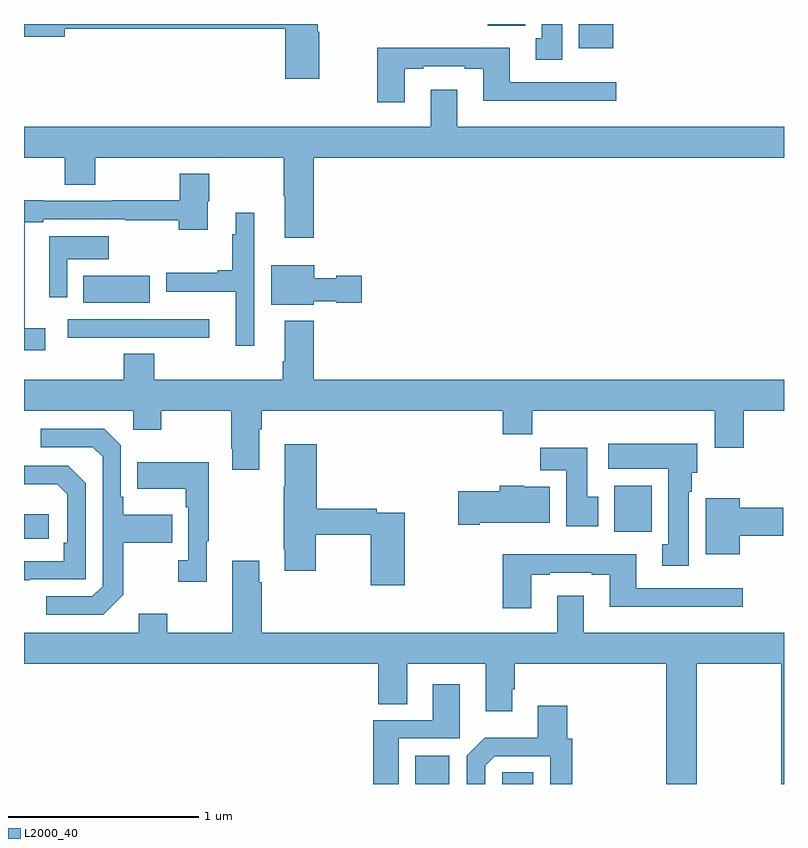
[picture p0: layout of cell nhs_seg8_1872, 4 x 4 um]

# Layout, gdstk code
import gdstk
lib = gdstk.Library(unit=1e-6, precision=1e-09)
def R(c, l, rs):  # rectangles x0, y0, x1, y1
    for r in rs: c.add(gdstk.rectangle(r[:2], r[2:], *l))
def P(c, l, *ps):  # polygons
    for p in ps: c.add(gdstk.Polygon(p, *l))
L2000_40 = (2000, 40)

nhs_seg8_1872 = lib.new_cell('nhs_seg8_1872')
R(nhs_seg8_1872, L2000_40, [(233.06,1083.9,233.239,1084.048), (233.517,1083.9,233.679,1083.962), (231,1085.19,231.13,1085.32), (234.107,1085.228,234.304,1085.47), (231.313,1086.434,231.663,1086.574), (233.921,1087.772,234.1,1087.9), (233.441,1087.892,233.638,1087.9)])
P(nhs_seg8_1872, L2000_40, [(233.833,1087.9),(233.726,1087.9),(233.726,1087.826),(233.693,1087.826),(233.693,1087.713),(233.833,1087.713)],
  [(232.554,1087.859),(232.546,1087.859),(232.546,1087.9),(231,1087.9),(231,1087.834),(231.214,1087.834),(231.214,1087.876),(232.376,1087.876),(232.376,1087.611),(232.554,1087.611)],
  [(233.005,1087.665),(233.101,1087.665),(233.101,1087.677),(233.321,1087.677),(233.321,1087.665),(233.417,1087.665),(233.417,1087.496),(234.118,1087.496),(234.118,1087.593),(233.557,1087.593),(233.557,1087.774),(232.858,1087.774),(232.858,1087.488),(233.005,1087.488)],
  [(232.526,1087.196),(235,1087.196),(235,1087.36),(233.281,1087.36),(233.281,1087.555),(233.141,1087.555),(233.141,1087.36),(231,1087.36),(231,1087.196),(231.215,1087.196),(231.215,1087.054),(231.375,1087.054),(231.375,1087.196),(232.366,1087.196),(232.366,1086.994),(232.373,1086.994),(232.373,1086.774),(232.526,1086.774)],
  [(231.112,1086.299),(231.004,1086.299),(231.004,1086.857),(231.1,1086.857),(231.1,1086.873),(231.532,1086.873),(231.532,1086.868),(231.815,1086.868),(231.815,1086.816),(231.967,1086.816),(231.967,1086.966),(231.975,1086.966),(231.975,1087.111),(231.82,1087.111),(231.82,1086.972),(231.463,1086.972),(231.463,1086.969),(231.1,1086.969),(231.1,1086.972),(231,1086.972),(231,1086.182),(231.112,1086.182)],
  [(232.212,1086.685),(232.213,1086.685),(232.213,1086.907),(232.115,1086.907),(232.115,1086.794),(232.096,1086.794),(232.096,1086.604),(232.019,1086.604),(232.019,1086.591),(231.748,1086.591),(231.748,1086.491),(232.115,1086.491),(232.115,1086.207),(232.212,1086.207)],
  [(231.228,1086.662),(231.445,1086.662),(231.445,1086.783),(231.133,1086.783),(231.133,1086.68),(231.132,1086.68),(231.132,1086.462),(231.228,1086.462)],
  [(232.524,1086.44),(232.644,1086.44),(232.644,1086.433),(232.777,1086.433),(232.777,1086.575),(232.644,1086.575),(232.644,1086.562),(232.528,1086.562),(232.528,1086.631),(232.301,1086.631),(232.301,1086.422),(232.524,1086.422)],
  [(231.976,1086.346),(231.756,1086.346),(231.756,1086.345),(231.231,1086.345),(231.231,1086.249),(231.976,1086.249)],
  [(232.237,1085.768),(232.25,1085.768),(232.25,1085.864),(233.519,1085.864),(233.519,1085.74),(233.675,1085.74),(233.675,1085.864),(234.635,1085.864),(234.635,1085.67),(234.788,1085.67),(234.788,1085.864),(235,1085.864),(235,1086.028),(232.526,1086.028),(232.526,1086.337),(232.373,1086.337),(232.373,1086.124),(232.361,1086.124),(232.361,1086.028),(231.686,1086.028),(231.686,1086.164),(231.526,1086.164),(231.526,1086.028),(231,1086.028),(231,1085.864),(231.576,1085.864),(231.576,1085.765),(231.723,1085.765),(231.723,1085.864),(232.09,1085.864),(232.09,1085.665),(232.097,1085.665),(232.097,1085.553),(232.237,1085.553)],
  [(231.523,1084.897),(231.523,1085.17),(231.779,1085.17),(231.779,1085.317),(231.523,1085.317),(231.523,1085.413),(231.51,1085.413),(231.51,1085.682),(231.423,1085.769),(231.087,1085.769),(231.087,1085.673),(231.363,1085.673),(231.414,1085.622),(231.414,1084.941),(231.36,1084.887),(231.117,1084.887),(231.117,1084.791),(231.417,1084.791)],
  [(234.499,1085.438),(234.514,1085.438),(234.514,1085.538),(234.544,1085.538),(234.544,1085.692),(234.075,1085.692),(234.075,1085.558),(234.392,1085.558),(234.392,1085.162),(234.359,1085.162),(234.359,1085.049),(234.499,1085.049)],
  [(233.003,1085.328),(232.856,1085.328),(232.856,1085.348),(232.541,1085.348),(232.541,1085.689),(232.373,1085.689),(232.373,1085.465),(232.366,1085.465),(232.366,1085.134),(232.373,1085.134),(232.373,1085.022),(232.536,1085.022),(232.536,1085.212),(232.825,1085.212),(232.825,1084.947),(233.003,1084.947)],
  [(234.022,1085.412),(233.965,1085.412),(233.965,1085.671),(233.716,1085.671),(233.716,1085.552),(233.855,1085.552),(233.855,1085.256),(234.022,1085.256)],
  [(231.961,1085.177),(231.973,1085.177),(231.973,1085.593),(231.595,1085.593),(231.595,1085.453),(231.852,1085.453),(231.852,1085.357),(231.864,1085.357),(231.864,1085.078),(231.813,1085.078),(231.813,1084.965),(231.961,1084.965)],
  [(231.029,1084.977),(231.324,1084.977),(231.324,1085.484),(231.234,1085.574),(231,1085.574),(231,1085.477),(231.175,1085.477),(231.228,1085.424),(231.228,1085.17),(231.208,1085.17),(231.208,1085.073),(231,1085.073),(231,1084.972),(231.029,1084.972)],
  [(233.398,1085.276),(233.767,1085.276),(233.767,1085.464),(233.634,1085.464),(233.634,1085.47),(233.504,1085.47),(233.504,1085.442),(233.286,1085.442),(233.286,1085.264),(233.398,1085.264)],
  [(234.766,1085.207),(234.997,1085.207),(234.997,1085.354),(234.766,1085.354),(234.766,1085.404),(234.587,1085.404),(234.587,1085.108),(234.766,1085.108)],
  [(233.671,1085.001),(233.767,1085.001),(233.767,1085.013),(233.987,1085.013),(233.987,1085.001),(234.083,1085.001),(234.083,1084.832),(234.784,1084.832),(234.784,1084.929),(234.223,1084.929),(234.223,1085.11),(233.519,1085.11),(233.519,1084.824),(233.671,1084.824)],
  [(234.54,1084.532),(234.985,1084.532),(234.985,1083.9),(235,1083.9),(235,1084.696),(233.947,1084.696),(233.947,1084.891),(233.807,1084.891),(233.807,1084.696),(232.25,1084.696),(232.25,1084.961),(232.237,1084.961),(232.237,1085.074),(232.097,1085.074),(232.097,1084.696),(231.753,1084.696),(231.753,1084.795),(231.605,1084.795),(231.605,1084.696),(231,1084.696),(231,1084.532),(232.865,1084.532),(232.865,1084.321),(233.017,1084.321),(233.017,1084.532),(233.429,1084.532),(233.429,1084.284),(233.569,1084.284),(233.569,1084.399),(233.582,1084.399),(233.582,1084.532),(234.38,1084.532),(234.38,1083.9),(234.54,1083.9)],
  [(232.972,1084.14),(233.293,1084.14),(233.293,1084.426),(233.15,1084.426),(233.15,1084.236),(232.838,1084.236),(232.838,1083.9),(232.972,1083.9)],
  [(233.427,1083.996),(233.478,1084.047),(233.769,1084.047),(233.769,1083.9),(233.885,1083.9),(233.885,1084.137),(233.858,1084.137),(233.858,1084.312),(233.705,1084.312),(233.705,1084.144),(233.425,1084.144),(233.331,1084.05),(233.331,1083.9),(233.427,1083.9)])

lib.write_gds('nhs_seg8_1872.gds')
